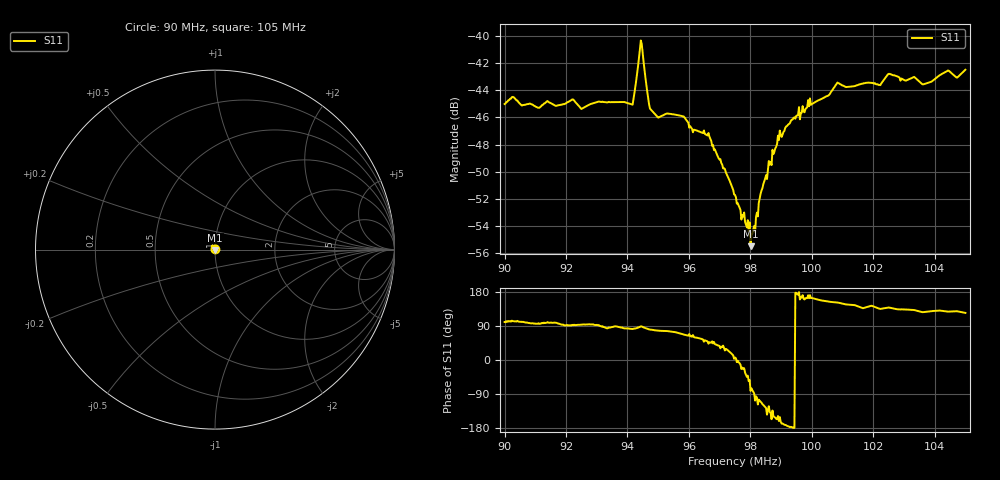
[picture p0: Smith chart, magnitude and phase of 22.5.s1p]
# HZ S RI R 50
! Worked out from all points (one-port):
!   505 points, 90 MHz to 105 MHz, reference 50 ohm
!   lowest |S11| = -55.5 dB at 98.01 MHz (marker M1), VSWR 1.00, Z = 50 - j0.167 ohm
!   |S11| at or under -10 dB: start of sweep to end of sweep
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9e7  -0.000995 0.00553
9.026786e7  -0.00128 0.00583
9.107143e7  -0.00054 0.00542
9.187501e7  -0.000304 0.00558
9.375001e7  0.000345 0.0057
9.416668e7  0.000791 0.00553
9.443454e7  0.000204 0.00962
9.449406e7  0.000437 0.00863
9.467263e7  0.000874 0.00584
9.479168e7  0.000927 0.00523
9.500002e7  0.00112 0.00488
9.562502e7  0.00158 0.00486
9.666669e7  0.00292 0.00311
9.750002e7  0.00258 0.000299
9.800598e7  0.000245 -0.00167
9.809526e7  0.000209 -0.00193
9.836312e7  -0.00104 -0.00249
9.889884e7  -0.00363 -0.00229
9.937503e7  -0.00492 -0.000113
1.008334e8  -0.00594 0.00317
1.0125e8  -0.00538 0.00365
1.022024e8  -0.00471 0.00463
1.025298e8  -0.0054 0.00483
1.03125e8  -0.0047 0.00504
1.036608e8  -0.00396 0.00534
1.044048e8  -0.00457 0.00585
1.047322e8  -0.00438 0.00549
1.05e8  -0.00423 0.0062
